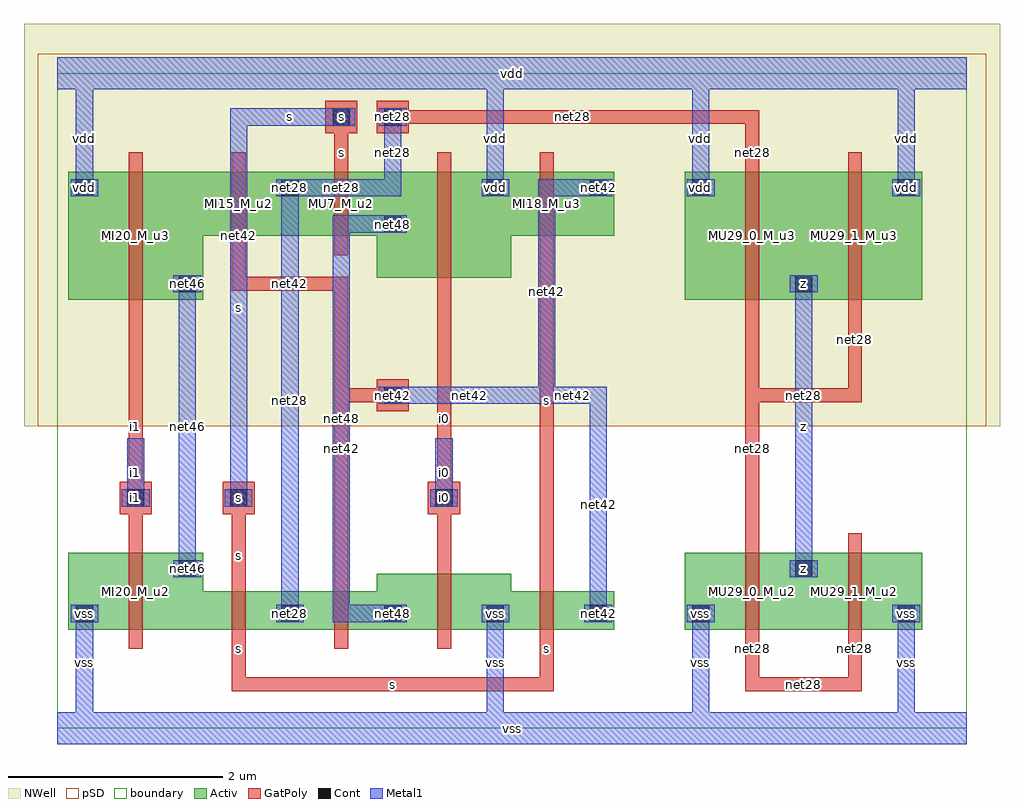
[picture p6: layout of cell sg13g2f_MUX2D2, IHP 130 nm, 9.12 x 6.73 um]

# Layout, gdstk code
import gdstk
lib = gdstk.Library(unit=1e-6, precision=1e-09)
def R(c, l, rs):  # rectangles x0, y0, x1, y1
    for r in rs: c.add(gdstk.rectangle(r[:2], r[2:], *l))
def A(c, l, x, y, w, h, nx, ny, dx, dy):  # array of equal rectangles
    R(c, l, [(x+i*dx, y+j*dy, x+i*dx+w, y+j*dy+h) for i in range(nx) for j in range(ny)])
Activ = (1, 0)
GatPoly = (5, 0)
Cont = (6, 0)
Metal1 = (8, 0)
pSD = (14, 0)
NWell = (31, 0)
TEXT = (63, 0)
boundary = (189, 4)

sg13g2f_mux2d2 = lib.new_cell('sg13g2f_MUX2D2')
A(sg13g2f_mux2d2, Activ, 2.025, 0.92, 0.3, 0.3, 5, 1, 0.96, 0)
A(sg13g2f_mux2d2, Activ, 0.105, 4.9, 0.3, 0.3, 3, 1, 1.92, 0)
R(sg13g2f_mux2d2, Activ, [(0.105,0.92,1.365,1.64), (0.105,0.92,0.405,1.22), (1.065,0.92,2.325,1.28), (2.025,0.92,3.285,1.28), (2.985,0.92,4.245,1.44), (3.945,0.92,5.205,1.28), (5.865,0.92,7.125,1.64), (6.825,0.92,8.085,1.64), (7.785,0.92,8.085,1.22), (1.065,1.34,1.365,1.64), (6.825,1.34,7.125,1.64), (0.105,4,1.365,5.2), (1.065,4,1.365,4.3), (5.865,4,7.125,5.2), (6.825,4,8.085,5.2), (6.825,4,7.125,4.3), (2.985,4.21,4.245,5.2), (2.985,4.56,3.285,4.86), (1.065,4.6,2.325,5.2), (2.025,4.6,3.285,5.2), (3.945,4.6,5.205,5.2), (4.905,4.9,5.205,5.2), (5.865,4.9,6.165,5.2), (7.785,4.9,8.085,5.2)])
R(sg13g2f_mux2d2, GatPoly, [(1.63,0.345,1.76,1.135), (1.63,0.345,4.64,0.475), (4.51,0.345,4.64,1.135), (6.43,0.345,6.56,1.135), (6.43,0.345,7.52,0.475), (7.39,0.345,7.52,1.135), (0.67,0.74,0.8,1.82), (1.63,0.74,1.76,1.46), (2.59,0.74,2.72,1.46), (3.55,0.74,3.68,1.62), (4.51,0.74,4.64,1.46), (6.43,0.74,6.56,1.82), (7.39,0.74,7.52,1.82), (1.63,1.005,1.76,2.215), (2.59,1.005,2.72,4.215), (3.55,1.005,3.68,4.775), (4.51,1.005,4.64,5.115), (6.43,1.005,6.56,4.215), (0.67,1.425,0.8,4.215), (0.585,2,0.885,2.3), (1.545,2,1.845,2.3), (3.465,2,3.765,2.3), (2.985,2.96,3.285,3.26), (2.59,3.045,3.2,3.175), (6.43,3.045,7.52,3.175), (7.39,3.045,7.52,4.215), (0.67,3.82,0.8,5.38), (6.43,3.82,6.56,5.38), (7.39,3.82,7.52,5.38), (3.55,4.03,3.68,5.38), (1.63,4.085,2.72,4.215), (1.63,4.085,1.76,5.115), (1.63,4.42,1.76,5.38), (2.59,4.42,2.72,5.38), (4.51,4.42,4.64,5.38), (2.59,4.985,2.72,5.775), (6.43,4.985,6.56,5.775), (2.505,5.56,2.805,5.86), (2.985,5.56,3.285,5.86), (3.07,5.645,6.56,5.775)])
A(sg13g2f_mux2d2, Cont, 2.095, 0.99, 0.16, 0.16, 5, 1, 0.96, 0)
A(sg13g2f_mux2d2, Cont, 0.175, 4.97, 0.16, 0.16, 3, 1, 1.92, 0)
R(sg13g2f_mux2d2, Cont, [(0.175,0.99,0.335,1.15), (7.855,0.99,8.015,1.15), (1.135,1.41,1.295,1.57), (6.895,1.41,7.055,1.57), (0.655,2.07,0.815,2.23), (1.615,2.07,1.775,2.23), (3.535,2.07,3.695,2.23), (3.055,3.03,3.215,3.19), (1.135,4.07,1.295,4.23), (6.895,4.07,7.055,4.23), (3.055,4.63,3.215,4.79), (4.975,4.97,5.135,5.13), (5.935,4.97,6.095,5.13), (7.855,4.97,8.015,5.13), (2.575,5.63,2.735,5.79), (3.055,5.63,3.215,5.79)])
A(sg13g2f_mux2d2, Metal1, 4.015, 0.07, 0.16, 1.08, 3, 2, 1.92, 4.9)
A(sg13g2f_mux2d2, Metal1, 2.045, 0.99, 0.26, 0.16, 5, 1, 0.96, 0)
A(sg13g2f_mux2d2, Metal1, 0.125, 4.97, 0.26, 0.16, 3, 1, 1.92, 0)
R(sg13g2f_mux2d2, Metal1, [(0,-0.15,8.5,0.15), (0.175,0.07,0.335,1.15), (0.125,0.99,0.385,1.15), (2.095,0.99,2.255,5.13), (2.575,0.99,3.215,1.15), (2.575,0.99,2.735,4.79), (4.975,0.99,5.135,3.19), (7.805,0.99,8.065,1.15), (1.085,1.41,1.345,1.57), (1.135,1.41,1.295,4.23), (6.845,1.41,7.105,1.57), (6.895,1.41,7.055,4.23), (0.605,2.07,0.865,2.23), (0.655,2.07,0.815,2.71), (1.565,2.07,1.825,2.23), (1.615,2.07,1.775,5.79), (3.485,2.07,3.745,2.23), (3.535,2.07,3.695,2.71), (3.005,3.03,3.265,3.19), (3.055,3.03,4.655,3.19), (4.495,3.03,5.135,3.19), (4.495,3.03,4.655,5.13), (1.085,4.07,1.345,4.23), (6.845,4.07,7.105,4.23), (2.575,4.63,3.215,4.79), (3.005,4.63,3.265,4.79), (0.175,4.97,0.335,6.05), (2.095,4.97,3.215,5.13), (3.055,4.97,3.215,5.79), (4.495,4.97,5.135,5.13), (4.925,4.97,5.185,5.13), (5.885,4.97,6.145,5.13), (7.805,4.97,8.065,5.13), (1.615,5.63,2.735,5.79), (2.525,5.63,2.785,5.79), (3.005,5.63,3.265,5.79), (0,5.97,8.5,6.27)])
R(sg13g2f_mux2d2, pSD, [(-0.18,2.82,8.68,5.94), (-0.18,5.94,8.68,6.3)])
R(sg13g2f_mux2d2, NWell, [(-0.31,2.82,8.81,6.58)])
R(sg13g2f_mux2d2, boundary, [(0,0,8.5,6.12)])
sg13g2f_mux2d2.add(gdstk.FlexPath([(0.105,0.41),(8.085,0.41)], 0, ends="flush", simple_path=True, layer=63, datatype=0))  # TEXT
sg13g2f_mux2d2.add(gdstk.FlexPath([(0.105,1.07),(8.085,1.07)], 0, ends="flush", simple_path=True, layer=63, datatype=0))  # TEXT
sg13g2f_mux2d2.add(gdstk.FlexPath([(0.105,1.49),(8.085,1.49)], 0, ends="flush", simple_path=True, layer=63, datatype=0))  # TEXT
sg13g2f_mux2d2.add(gdstk.FlexPath([(0.105,2.15),(8.085,2.15)], 0, ends="flush", simple_path=True, layer=63, datatype=0))  # TEXT
sg13g2f_mux2d2.add(gdstk.FlexPath([(0.105,2.63),(8.085,2.63)], 0, ends="flush", simple_path=True, layer=63, datatype=0))  # TEXT
sg13g2f_mux2d2.add(gdstk.FlexPath([(0.105,3.11),(8.085,3.11)], 0, ends="flush", simple_path=True, layer=63, datatype=0))  # TEXT
sg13g2f_mux2d2.add(gdstk.FlexPath([(0.105,4.15),(8.085,4.15)], 0, ends="flush", simple_path=True, layer=63, datatype=0))  # TEXT
sg13g2f_mux2d2.add(gdstk.FlexPath([(0.105,4.71),(8.085,4.71)], 0, ends="flush", simple_path=True, layer=63, datatype=0))  # TEXT
sg13g2f_mux2d2.add(gdstk.FlexPath([(0.105,5.05),(8.085,5.05)], 0, ends="flush", simple_path=True, layer=63, datatype=0))  # TEXT
sg13g2f_mux2d2.add(gdstk.FlexPath([(0.105,5.71),(8.085,5.71)], 0, ends="flush", simple_path=True, layer=63, datatype=0))  # TEXT
sg13g2f_mux2d2.add(gdstk.FlexPath([(0.255,0.07),(0.255,6.05)], 0, ends="flush", simple_path=True, layer=63, datatype=0))  # TEXT
sg13g2f_mux2d2.add(gdstk.FlexPath([(0.735,0.07),(0.735,6.05)], 0, ends="flush", simple_path=True, layer=63, datatype=0))  # TEXT
sg13g2f_mux2d2.add(gdstk.FlexPath([(1.215,0.07),(1.215,6.05)], 0, ends="flush", simple_path=True, layer=63, datatype=0))  # TEXT
sg13g2f_mux2d2.add(gdstk.FlexPath([(1.695,0.07),(1.695,6.05)], 0, ends="flush", simple_path=True, layer=63, datatype=0))  # TEXT
sg13g2f_mux2d2.add(gdstk.FlexPath([(2.175,0.07),(2.175,6.05)], 0, ends="flush", simple_path=True, layer=63, datatype=0))  # TEXT
sg13g2f_mux2d2.add(gdstk.FlexPath([(2.655,0.07),(2.655,6.05)], 0, ends="flush", simple_path=True, layer=63, datatype=0))  # TEXT
sg13g2f_mux2d2.add(gdstk.FlexPath([(3.135,0.07),(3.135,6.05)], 0, ends="flush", simple_path=True, layer=63, datatype=0))  # TEXT
sg13g2f_mux2d2.add(gdstk.FlexPath([(3.615,0.07),(3.615,6.05)], 0, ends="flush", simple_path=True, layer=63, datatype=0))  # TEXT
sg13g2f_mux2d2.add(gdstk.FlexPath([(4.095,0.07),(4.095,6.05)], 0, ends="flush", simple_path=True, layer=63, datatype=0))  # TEXT
sg13g2f_mux2d2.add(gdstk.FlexPath([(4.575,0.07),(4.575,6.05)], 0, ends="flush", simple_path=True, layer=63, datatype=0))  # TEXT
sg13g2f_mux2d2.add(gdstk.FlexPath([(5.055,0.07),(5.055,6.05)], 0, ends="flush", simple_path=True, layer=63, datatype=0))  # TEXT
sg13g2f_mux2d2.add(gdstk.FlexPath([(5.535,0.07),(5.535,6.05)], 0, ends="flush", simple_path=True, layer=63, datatype=0))  # TEXT
sg13g2f_mux2d2.add(gdstk.FlexPath([(6.015,0.07),(6.015,6.05)], 0, ends="flush", simple_path=True, layer=63, datatype=0))  # TEXT
sg13g2f_mux2d2.add(gdstk.FlexPath([(6.495,0.07),(6.495,6.05)], 0, ends="flush", simple_path=True, layer=63, datatype=0))  # TEXT
sg13g2f_mux2d2.add(gdstk.FlexPath([(6.975,0.07),(6.975,6.05)], 0, ends="flush", simple_path=True, layer=63, datatype=0))  # TEXT
sg13g2f_mux2d2.add(gdstk.FlexPath([(7.455,0.07),(7.455,6.05)], 0, ends="flush", simple_path=True, layer=63, datatype=0))  # TEXT
sg13g2f_mux2d2.add(gdstk.FlexPath([(7.935,0.07),(7.935,6.05)], 0, ends="flush", simple_path=True, layer=63, datatype=0))  # TEXT
sg13g2f_mux2d2.add(gdstk.Label('net46', (1.215,1.49), layer=6, texttype=0))
sg13g2f_mux2d2.add(gdstk.Label('net46', (1.215,4.15), layer=6, texttype=0))
sg13g2f_mux2d2.add(gdstk.Label('s', (1.695,2.15), layer=6, texttype=0))
sg13g2f_mux2d2.add(gdstk.Label('s', (2.655,5.71), layer=6, texttype=0))
sg13g2f_mux2d2.add(gdstk.Label('net28', (2.175,1.07), layer=6, texttype=0))
sg13g2f_mux2d2.add(gdstk.Label('net28', (2.175,5.05), layer=6, texttype=0))
sg13g2f_mux2d2.add(gdstk.Label('net28', (3.135,5.71), layer=6, texttype=0))
sg13g2f_mux2d2.add(gdstk.Label('net48', (3.135,1.07), layer=6, texttype=0))
sg13g2f_mux2d2.add(gdstk.Label('net48', (3.135,4.71), layer=6, texttype=0))
sg13g2f_mux2d2.add(gdstk.Label('net42', (5.055,1.07), layer=6, texttype=0))
sg13g2f_mux2d2.add(gdstk.Label('net42', (5.055,5.05), layer=6, texttype=0))
sg13g2f_mux2d2.add(gdstk.Label('net42', (3.135,3.11), layer=6, texttype=0))
sg13g2f_mux2d2.add(gdstk.Label('i1', (0.735,2.15), layer=6, texttype=0))
sg13g2f_mux2d2.add(gdstk.Label('i0', (3.615,2.15), layer=6, texttype=0))
sg13g2f_mux2d2.add(gdstk.Label('z', (6.975,1.49), layer=6, texttype=0))
sg13g2f_mux2d2.add(gdstk.Label('z', (6.975,4.15), layer=6, texttype=0))
sg13g2f_mux2d2.add(gdstk.Label('vss', (0.255,1.07), layer=6, texttype=0))
sg13g2f_mux2d2.add(gdstk.Label('vss', (4.095,1.07), layer=6, texttype=0))
sg13g2f_mux2d2.add(gdstk.Label('vss', (6.015,1.07), layer=6, texttype=0))
sg13g2f_mux2d2.add(gdstk.Label('vss', (7.935,1.07), layer=6, texttype=0))
sg13g2f_mux2d2.add(gdstk.Label('vdd', (0.255,5.05), layer=6, texttype=0))
sg13g2f_mux2d2.add(gdstk.Label('vdd', (4.095,5.05), layer=6, texttype=0))
sg13g2f_mux2d2.add(gdstk.Label('vdd', (6.015,5.05), layer=6, texttype=0))
sg13g2f_mux2d2.add(gdstk.Label('vdd', (7.935,5.05), layer=6, texttype=0))
sg13g2f_mux2d2.add(gdstk.Label('net46', (1.215,1.49), layer=8, texttype=0))
sg13g2f_mux2d2.add(gdstk.Label('net46', (1.215,4.15), layer=8, texttype=0))
sg13g2f_mux2d2.add(gdstk.Label('net46', (1.215,2.82), layer=8, texttype=0))
sg13g2f_mux2d2.add(gdstk.Label('net28', (2.175,1.07), layer=8, texttype=0))
sg13g2f_mux2d2.add(gdstk.Label('net28', (2.175,5.05), layer=8, texttype=0))
sg13g2f_mux2d2.add(gdstk.Label('net28', (2.175,3.06), layer=8, texttype=0))
sg13g2f_mux2d2.add(gdstk.Label('net28', (2.655,5.05), layer=8, texttype=0))
sg13g2f_mux2d2.add(gdstk.Label('net28', (3.135,5.38), layer=8, texttype=0))
sg13g2f_mux2d2.add(gdstk.Label('net28', (3.135,5.71), layer=8, texttype=0))
sg13g2f_mux2d2.add(gdstk.Label('net48', (3.135,1.07), layer=8, texttype=0))
sg13g2f_mux2d2.add(gdstk.Label('net48', (3.135,4.71), layer=8, texttype=0))
sg13g2f_mux2d2.add(gdstk.Label('net48', (2.895,1.07), layer=8, texttype=0))
sg13g2f_mux2d2.add(gdstk.Label('net48', (2.655,2.89), layer=8, texttype=0))
sg13g2f_mux2d2.add(gdstk.Label('net48', (2.895,4.71), layer=8, texttype=0))
sg13g2f_mux2d2.add(gdstk.Label('net42', (5.055,1.07), layer=8, texttype=0))
sg13g2f_mux2d2.add(gdstk.Label('net42', (5.055,5.05), layer=8, texttype=0))
sg13g2f_mux2d2.add(gdstk.Label('net42', (3.135,3.11), layer=8, texttype=0))
sg13g2f_mux2d2.add(gdstk.Label('net42', (3.855,3.11), layer=8, texttype=0))
sg13g2f_mux2d2.add(gdstk.Label('net42', (4.575,4.08), layer=8, texttype=0))
sg13g2f_mux2d2.add(gdstk.Label('net42', (4.815,5.05), layer=8, texttype=0))
sg13g2f_mux2d2.add(gdstk.Label('net42', (5.055,2.09), layer=8, texttype=0))
sg13g2f_mux2d2.add(gdstk.Label('net42', (4.815,3.11), layer=8, texttype=0))
sg13g2f_mux2d2.add(gdstk.Label('vss', (0.255,1.07), layer=8, texttype=0))
sg13g2f_mux2d2.add(gdstk.Label('vss', (0.255,0.61), layer=8, texttype=0))
sg13g2f_mux2d2.add(gdstk.Label('vss', (4.095,1.07), layer=8, texttype=0))
sg13g2f_mux2d2.add(gdstk.Label('vss', (4.095,0.61), layer=8, texttype=0))
sg13g2f_mux2d2.add(gdstk.Label('vss', (6.015,1.07), layer=8, texttype=0))
sg13g2f_mux2d2.add(gdstk.Label('vss', (6.015,0.61), layer=8, texttype=0))
sg13g2f_mux2d2.add(gdstk.Label('vss', (7.935,1.07), layer=8, texttype=0))
sg13g2f_mux2d2.add(gdstk.Label('vss', (7.935,0.61), layer=8, texttype=0))
sg13g2f_mux2d2.add(gdstk.Label('vdd', (0.255,5.05), layer=8, texttype=0))
sg13g2f_mux2d2.add(gdstk.Label('vdd', (0.255,5.51), layer=8, texttype=0))
sg13g2f_mux2d2.add(gdstk.Label('vdd', (4.095,5.05), layer=8, texttype=0))
sg13g2f_mux2d2.add(gdstk.Label('vdd', (4.095,5.51), layer=8, texttype=0))
sg13g2f_mux2d2.add(gdstk.Label('vdd', (6.015,5.05), layer=8, texttype=0))
sg13g2f_mux2d2.add(gdstk.Label('vdd', (6.015,5.51), layer=8, texttype=0))
sg13g2f_mux2d2.add(gdstk.Label('vdd', (7.935,5.05), layer=8, texttype=0))
sg13g2f_mux2d2.add(gdstk.Label('vdd', (7.935,5.51), layer=8, texttype=0))
sg13g2f_mux2d2.add(gdstk.Label('s', (1.695,2.15), layer=8, texttype=2))
sg13g2f_mux2d2.add(gdstk.Label('s', (1.695,3.93), layer=8, texttype=2))
sg13g2f_mux2d2.add(gdstk.Label('s', (2.175,5.71), layer=8, texttype=2))
sg13g2f_mux2d2.add(gdstk.Label('s', (2.655,5.71), layer=8, texttype=2))
sg13g2f_mux2d2.add(gdstk.Label('i1', (0.735,2.15), layer=8, texttype=2))
sg13g2f_mux2d2.add(gdstk.Label('i1', (0.735,2.39), layer=8, texttype=2))
sg13g2f_mux2d2.add(gdstk.Label('i0', (3.615,2.15), layer=8, texttype=2))
sg13g2f_mux2d2.add(gdstk.Label('i0', (3.615,2.39), layer=8, texttype=2))
sg13g2f_mux2d2.add(gdstk.Label('z', (6.975,1.49), layer=8, texttype=2))
sg13g2f_mux2d2.add(gdstk.Label('z', (6.975,4.15), layer=8, texttype=2))
sg13g2f_mux2d2.add(gdstk.Label('z', (6.975,2.82), layer=8, texttype=2))
sg13g2f_mux2d2.add(gdstk.Label('vss', (4.25,0), layer=8, texttype=2))
sg13g2f_mux2d2.add(gdstk.Label('vdd', (4.25,6.12), layer=8, texttype=2))
sg13g2f_mux2d2.add(gdstk.Label('s', (1.695,2.15), layer=8, texttype=2))
sg13g2f_mux2d2.add(gdstk.Label('s', (1.695,3.93), layer=8, texttype=2))
sg13g2f_mux2d2.add(gdstk.Label('s', (2.175,5.71), layer=8, texttype=2))
sg13g2f_mux2d2.add(gdstk.Label('s', (2.655,5.71), layer=8, texttype=2))
sg13g2f_mux2d2.add(gdstk.Label('i1', (0.735,2.15), layer=8, texttype=2))
sg13g2f_mux2d2.add(gdstk.Label('i1', (0.735,2.39), layer=8, texttype=2))
sg13g2f_mux2d2.add(gdstk.Label('i0', (3.615,2.15), layer=8, texttype=2))
sg13g2f_mux2d2.add(gdstk.Label('i0', (3.615,2.39), layer=8, texttype=2))
sg13g2f_mux2d2.add(gdstk.Label('z', (6.975,1.49), layer=8, texttype=2))
sg13g2f_mux2d2.add(gdstk.Label('z', (6.975,4.15), layer=8, texttype=2))
sg13g2f_mux2d2.add(gdstk.Label('z', (6.975,2.82), layer=8, texttype=2))
sg13g2f_mux2d2.add(gdstk.Label('vss', (4.25,0), layer=8, texttype=2))
sg13g2f_mux2d2.add(gdstk.Label('vdd', (4.25,6.12), layer=8, texttype=2))
sg13g2f_mux2d2.add(gdstk.Label('MI15_M_u3', (1.695,1.1), layer=1, texttype=0))
sg13g2f_mux2d2.add(gdstk.Label('MU7_M_u3', (2.655,1.1), layer=1, texttype=0))
sg13g2f_mux2d2.add(gdstk.Label('MI20_M_u2', (0.735,1.28), layer=1, texttype=0))
sg13g2f_mux2d2.add(gdstk.Label('MI19_M_u2', (3.615,1.18), layer=1, texttype=0))
sg13g2f_mux2d2.add(gdstk.Label('MI18_M_u2', (4.575,1.1), layer=1, texttype=0))
sg13g2f_mux2d2.add(gdstk.Label('MU29_0_M_u2', (6.495,1.28), layer=1, texttype=0))
sg13g2f_mux2d2.add(gdstk.Label('MU29_1_M_u2', (7.455,1.28), layer=1, texttype=0))
sg13g2f_mux2d2.add(gdstk.Label('MI15_M_u2', (1.695,4.9), layer=1, texttype=0))
sg13g2f_mux2d2.add(gdstk.Label('MU7_M_u2', (2.655,4.9), layer=1, texttype=0))
sg13g2f_mux2d2.add(gdstk.Label('MI20_M_u3', (0.735,4.6), layer=1, texttype=0))
sg13g2f_mux2d2.add(gdstk.Label('MI19_M_u3', (3.615,4.705), layer=1, texttype=0))
sg13g2f_mux2d2.add(gdstk.Label('MI18_M_u3', (4.575,4.9), layer=1, texttype=0))
sg13g2f_mux2d2.add(gdstk.Label('MU29_0_M_u3', (6.495,4.6), layer=1, texttype=0))
sg13g2f_mux2d2.add(gdstk.Label('MU29_1_M_u3', (7.455,4.6), layer=1, texttype=0))
sg13g2f_mux2d2.add(gdstk.Label('net46', (1.215,1.49), layer=1, texttype=0))
sg13g2f_mux2d2.add(gdstk.Label('net46', (1.215,4.15), layer=1, texttype=0))
sg13g2f_mux2d2.add(gdstk.Label('net28', (2.175,1.07), layer=1, texttype=0))
sg13g2f_mux2d2.add(gdstk.Label('net28', (2.175,5.05), layer=1, texttype=0))
sg13g2f_mux2d2.add(gdstk.Label('net48', (3.135,1.07), layer=1, texttype=0))
sg13g2f_mux2d2.add(gdstk.Label('net48', (3.135,4.71), layer=1, texttype=0))
sg13g2f_mux2d2.add(gdstk.Label('net42', (5.055,1.07), layer=1, texttype=0))
sg13g2f_mux2d2.add(gdstk.Label('net42', (5.055,5.05), layer=1, texttype=0))
sg13g2f_mux2d2.add(gdstk.Label('z', (6.975,1.49), layer=1, texttype=0))
sg13g2f_mux2d2.add(gdstk.Label('z', (6.975,4.15), layer=1, texttype=0))
sg13g2f_mux2d2.add(gdstk.Label('vss', (0.255,1.07), layer=1, texttype=0))
sg13g2f_mux2d2.add(gdstk.Label('vss', (4.095,1.07), layer=1, texttype=0))
sg13g2f_mux2d2.add(gdstk.Label('vss', (6.015,1.07), layer=1, texttype=0))
sg13g2f_mux2d2.add(gdstk.Label('vss', (7.935,1.07), layer=1, texttype=0))
sg13g2f_mux2d2.add(gdstk.Label('vdd', (0.255,5.05), layer=1, texttype=0))
sg13g2f_mux2d2.add(gdstk.Label('vdd', (4.095,5.05), layer=1, texttype=0))
sg13g2f_mux2d2.add(gdstk.Label('vdd', (6.015,5.05), layer=1, texttype=0))
sg13g2f_mux2d2.add(gdstk.Label('vdd', (7.935,5.05), layer=1, texttype=0))
sg13g2f_mux2d2.add(gdstk.Label('s', (1.695,2.15), layer=8, texttype=25))
sg13g2f_mux2d2.add(gdstk.Label('s', (1.695,3.93), layer=8, texttype=25))
sg13g2f_mux2d2.add(gdstk.Label('s', (2.175,5.71), layer=8, texttype=25))
sg13g2f_mux2d2.add(gdstk.Label('s', (2.655,5.71), layer=8, texttype=25))
sg13g2f_mux2d2.add(gdstk.Label('i1', (0.735,2.15), layer=8, texttype=25))
sg13g2f_mux2d2.add(gdstk.Label('i1', (0.735,2.39), layer=8, texttype=25))
sg13g2f_mux2d2.add(gdstk.Label('i0', (3.615,2.15), layer=8, texttype=25))
sg13g2f_mux2d2.add(gdstk.Label('i0', (3.615,2.39), layer=8, texttype=25))
sg13g2f_mux2d2.add(gdstk.Label('z', (6.975,1.49), layer=8, texttype=25))
sg13g2f_mux2d2.add(gdstk.Label('z', (6.975,4.15), layer=8, texttype=25))
sg13g2f_mux2d2.add(gdstk.Label('z', (6.975,2.82), layer=8, texttype=25))
sg13g2f_mux2d2.add(gdstk.Label('vss', (4.25,0), layer=8, texttype=25))
sg13g2f_mux2d2.add(gdstk.Label('vdd', (4.25,6.12), layer=8, texttype=25))
sg13g2f_mux2d2.add(gdstk.Label('s', (1.695,0.74), layer=5, texttype=0))
sg13g2f_mux2d2.add(gdstk.Label('s', (3.135,0.41), layer=5, texttype=0))
sg13g2f_mux2d2.add(gdstk.Label('s', (4.575,0.74), layer=5, texttype=0))
sg13g2f_mux2d2.add(gdstk.Label('s', (1.695,1.61), layer=5, texttype=0))
sg13g2f_mux2d2.add(gdstk.Label('s', (1.695,2.15), layer=5, texttype=0))
sg13g2f_mux2d2.add(gdstk.Label('s', (2.655,5.71), layer=5, texttype=0))
sg13g2f_mux2d2.add(gdstk.Label('s', (2.655,5.38), layer=5, texttype=0))
sg13g2f_mux2d2.add(gdstk.Label('s', (4.575,3.06), layer=5, texttype=0))
sg13g2f_mux2d2.add(gdstk.Label('net28', (6.495,0.74), layer=5, texttype=0))
sg13g2f_mux2d2.add(gdstk.Label('net28', (6.975,0.41), layer=5, texttype=0))
sg13g2f_mux2d2.add(gdstk.Label('net28', (7.455,0.74), layer=5, texttype=0))
sg13g2f_mux2d2.add(gdstk.Label('net28', (6.495,2.61), layer=5, texttype=0))
sg13g2f_mux2d2.add(gdstk.Label('net28', (3.135,5.71), layer=5, texttype=0))
sg13g2f_mux2d2.add(gdstk.Label('net28', (4.815,5.71), layer=5, texttype=0))
sg13g2f_mux2d2.add(gdstk.Label('net28', (6.495,5.38), layer=5, texttype=0))
sg13g2f_mux2d2.add(gdstk.Label('net28', (6.975,3.11), layer=5, texttype=0))
sg13g2f_mux2d2.add(gdstk.Label('net28', (7.455,3.63), layer=5, texttype=0))
sg13g2f_mux2d2.add(gdstk.Label('net42', (2.655,2.61), layer=5, texttype=0))
sg13g2f_mux2d2.add(gdstk.Label('net42', (2.175,4.15), layer=5, texttype=0))
sg13g2f_mux2d2.add(gdstk.Label('net42', (1.695,4.6), layer=5, texttype=0))
sg13g2f_mux2d2.add(gdstk.Label('net42', (2.895,3.11), layer=5, texttype=0))
sg13g2f_mux2d2.add(gdstk.Label('net42', (3.135,3.11), layer=5, texttype=0))
sg13g2f_mux2d2.add(gdstk.Label('i1', (0.735,2.82), layer=5, texttype=0))
sg13g2f_mux2d2.add(gdstk.Label('i1', (0.735,2.15), layer=5, texttype=0))
sg13g2f_mux2d2.add(gdstk.Label('i0', (3.615,2.89), layer=5, texttype=0))
sg13g2f_mux2d2.add(gdstk.Label('i0', (3.615,2.15), layer=5, texttype=0))

lib.write_gds('sg13g2f_MUX2D2.gds')
